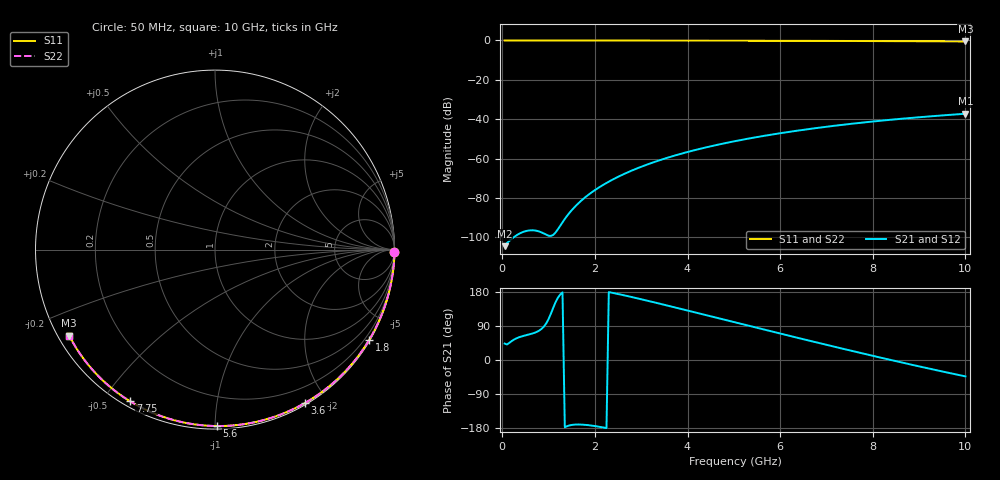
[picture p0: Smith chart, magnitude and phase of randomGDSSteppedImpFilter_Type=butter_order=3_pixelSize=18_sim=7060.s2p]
! freq	dB(S11)	phase(S11)	dB(S12)	phase(S12)
!  dB(S21)	phase(S21)	dB(S22)	phase(S22)
!S-par simulation data
#  GHz  S  DB  R 50
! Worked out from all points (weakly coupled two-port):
!   200 points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, 50 MHz to 10 GHz, reference 50 ohm
!   highest |S21| = -37.22 dB at 10 GHz (marker M1); lowest = -104.5 dB at 50 MHz (marker M2)
!   lowest |S11| = -0.5 dB at 10 GHz (marker M3), VSWR 34.15, Z = 1.57 - j13.7 ohm
!   |S11| at or under -10 dB: nowhere
!   |S22| runs from -0.5 to 0.0 dB; largest |S21 - S12| = 0
!   S11 on the Smith chart (normalised r, x): 50 MHz: open; 1.8 GHz: 0.03, -3.67; 3.6 GHz: 0.02, -1.75; 5.6 GHz: 0.02, -1.01; 7.75 GHz: 0.02, -0.59; 10 GHz: 0.03, -0.27
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0.05  -0.00 -0.9  -104.48 43.4  -104.48 43.4  -0.00 -0.9
0.45  -0.01 -7.7  -97.25 63.4  -97.25 63.4  -0.01 -7.7
0.9  -0.02 -15.4  -98.09 88.4  -98.09 88.4  -0.02 -15.4
1.75  -0.04 -29.7  -80.44 -170.8  -80.44 -170.8  -0.04 -29.7
1.8  -0.04 -30.5  -79.47 -171.2  -79.47 -171.2  -0.04 -30.5
1.95  -0.04 -33.0  -76.81 -173.4  -76.81 -173.4  -0.04 -33.0
2.1  -0.05 -35.5  -74.47 -176.3  -74.47 -176.3  -0.05 -35.5
2.3  -0.05 -38.8  -71.70 179.2  -71.70 179.2  -0.05 -38.8
2.5  -0.05 -42.0  -69.26 174.2  -69.26 174.2  -0.05 -42.0
2.9  -0.06 -48.5  -65.07 163.2  -65.07 163.2  -0.06 -48.5
3.4  -0.07 -56.4  -60.80 148.6  -60.80 148.6  -0.07 -56.4
3.6  -0.08 -59.5  -59.32 142.6  -59.32 142.6  -0.08 -59.5
4.3  -0.10 -70.3  -54.86 121.4  -54.86 121.4  -0.10 -70.3
5.05  -0.13 -81.4  -51.02 98.5  -51.02 98.5  -0.13 -81.4
5.6  -0.15 -89.4  -48.66 81.8  -48.66 81.8  -0.15 -89.4
6.15  -0.17 -97.2  -46.58 65.3  -46.58 65.3  -0.17 -97.2
6.7  -0.20 -104.9  -44.74 48.9  -44.74 48.9  -0.20 -104.9
7.2  -0.24 -111.8  -43.25 34.2  -43.25 34.2  -0.24 -111.8
7.75  -0.28 -119.2  -41.78 18.2  -41.78 18.2  -0.28 -119.2
8.35  -0.33 -127.3  -40.35 1.1  -40.35 1.1  -0.33 -127.3
9.2  -0.41 -138.6  -38.62 -22.3  -38.62 -22.3  -0.41 -138.6
10  -0.51 -149.4  -37.22 -43.3  -37.22 -43.3  -0.51 -149.4
